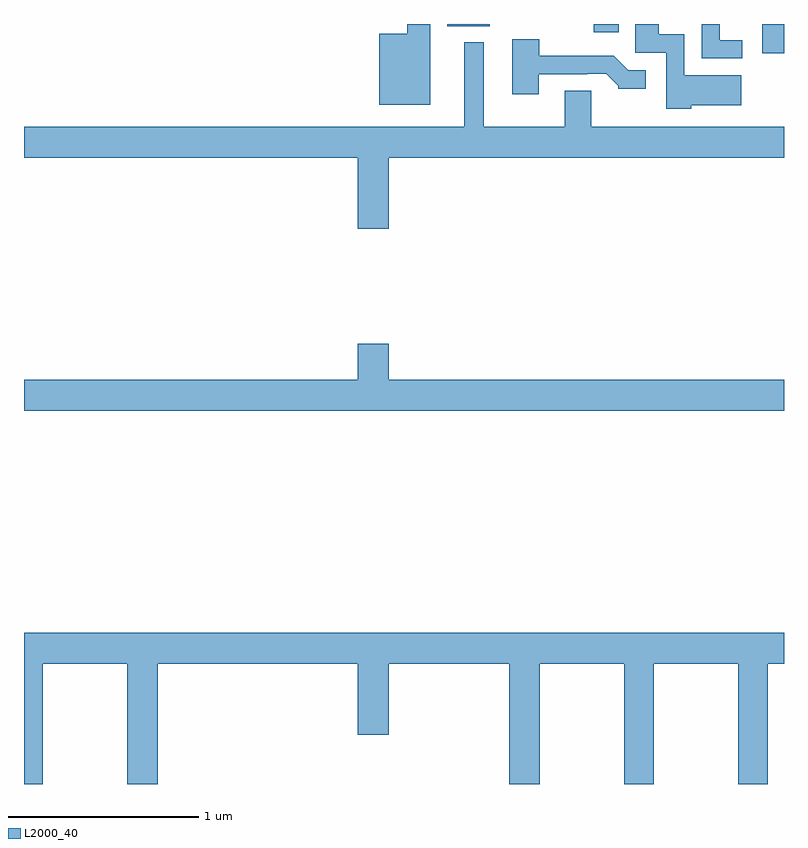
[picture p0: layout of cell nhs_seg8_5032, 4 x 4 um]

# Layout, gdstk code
import gdstk
lib = gdstk.Library(unit=1e-6, precision=1e-09)
def R(c, l, rs):  # rectangles x0, y0, x1, y1
    for r in rs: c.add(gdstk.rectangle(r[:2], r[2:], *l))
def P(c, l, *ps):  # polygons
    for p in ps: c.add(gdstk.Polygon(p, *l))
L2000_40 = (2000, 40)

nhs_seg8_5032 = lib.new_cell('nhs_seg8_5032')
R(nhs_seg8_5032, L2000_40, [(418.886,1087.746,419,1087.9), (417.998,1087.857,418.129,1087.9), (417.227,1087.889,417.45,1087.9)])
P(nhs_seg8_5032, L2000_40, [(418.512,1087.472),(418.774,1087.472),(418.774,1087.63),(418.476,1087.63),(418.476,1087.846),(418.342,1087.846),(418.342,1087.9),(418.217,1087.9),(418.217,1087.749),(418.38,1087.749),(418.38,1087.454),(418.512,1087.454)],
  [(418.78,1087.815),(418.662,1087.815),(418.662,1087.9),(418.566,1087.9),(418.566,1087.719),(418.78,1087.719)],
  [(417.139,1087.9),(417.018,1087.9),(417.018,1087.849),(416.87,1087.849),(416.87,1087.475),(417.139,1087.475)],
  [(417.709,1087.635),(417.965,1087.635),(417.965,1087.638),(418.064,1087.638),(418.128,1087.574),(418.128,1087.559),(418.273,1087.559),(418.273,1087.656),(418.179,1087.656),(418.103,1087.732),(417.712,1087.732),(417.712,1087.819),(417.569,1087.819),(417.569,1087.53),(417.709,1087.53)],
  [(416.92,1087.196),(419,1087.196),(419,1087.36),(417.985,1087.36),(417.985,1087.55),(417.845,1087.55),(417.845,1087.36),(417.421,1087.36),(417.421,1087.804),(417.317,1087.804),(417.317,1087.36),(415,1087.36),(415,1087.196),(416.756,1087.196),(416.756,1086.822),(416.92,1086.822)],
  [(419,1086.028),(416.92,1086.028),(416.92,1086.217),(416.756,1086.217),(416.756,1086.028),(415,1086.028),(415,1085.864),(419,1085.864)],
  [(415.098,1084.532),(415.543,1084.532),(415.543,1083.9),(415.703,1083.9),(415.703,1084.532),(416.756,1084.532),(416.756,1084.158),(416.92,1084.158),(416.92,1084.532),(417.554,1084.532),(417.554,1083.9),(417.714,1083.9),(417.714,1084.532),(418.159,1084.532),(418.159,1083.9),(418.314,1083.9),(418.314,1084.532),(418.759,1084.532),(418.759,1083.9),(418.914,1083.9),(418.914,1084.532),(419,1084.532),(419,1084.696),(415,1084.696),(415,1083.9),(415.098,1083.9)])

lib.write_gds('nhs_seg8_5032.gds')
